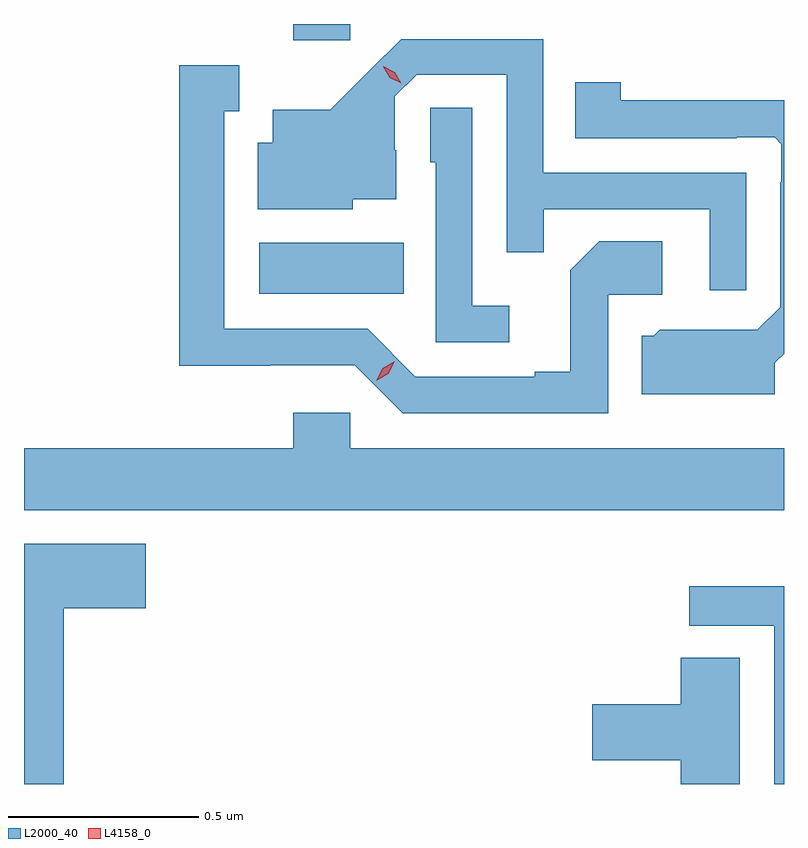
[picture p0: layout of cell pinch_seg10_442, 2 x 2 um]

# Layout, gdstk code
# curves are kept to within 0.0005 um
import gdstk
lib = gdstk.Library(unit=1e-6, precision=1e-09)
def R(c, l, rs):  # rectangles x0, y0, x1, y1
    for r in rs: c.add(gdstk.rectangle(r[:2], r[2:], *l))
def P(c, l, *ps):  # polygons
    for p in ps: c.add(gdstk.Polygon(p, *l))
L2000_40 = (2000, 40)
L4158_0 = (4158, 0)

pinch_seg10_442 = lib.new_cell('pinch_seg10_442')
R(pinch_seg10_442, L2000_40, [(394.008,1296.89,394.388,1297.024), (394.097,1297.557,394.248,1297.6)])
P(pinch_seg10_442, L2000_40, [(395.289,1297.209),(394.755,1297.209),(394.755,1297.56),(394.382,1297.56),(394.195,1297.375),(394.043,1297.375),(394.043,1297.288),(394.004,1297.288),(394.004,1297.112),(394.254,1297.112),(394.254,1297.139),(394.369,1297.139),(394.369,1297.268),(394.365,1297.268),(394.365,1297.41),(394.422,1297.467),(394.659,1297.467),(394.659,1297),(394.757,1297),(394.757,1297.113),(395.193,1297.113),(395.193,1296.9),(395.289,1296.9)],
  [(394.926,1296.888),(395.068,1296.888),(395.068,1297.028),(394.903,1297.028),(394.827,1296.952),(394.827,1296.685),(394.733,1296.685),(394.733,1296.672),(394.419,1296.672),(394.293,1296.798),(393.916,1296.798),(393.916,1297.371),(393.955,1297.371),(393.955,1297.492),(393.798,1297.492),(393.798,1296.701),(394.038,1296.701),(394.038,1296.702),(394.26,1296.702),(394.386,1296.576),(394.926,1296.576)],
  [(395.365,1296.708),(395.389,1296.732),(395.389,1297.399),(395.315,1297.399),(395.315,1297.4),(394.959,1297.4),(394.959,1297.447),(394.84,1297.447),(394.84,1297.299),(395.264,1297.299),(395.264,1297.302),(395.364,1297.302),(395.382,1297.284),(395.382,1297.184),(395.379,1297.184),(395.379,1296.855),(395.319,1296.795),(395.196,1296.795),(395.196,1296.796),(395.062,1296.796),(395.046,1296.78),(395.015,1296.78),(395.015,1296.626),(395.365,1296.626)],
  [(394.666,1296.859),(394.569,1296.859),(394.569,1297.379),(394.458,1297.379),(394.458,1297.236),(394.473,1297.236),(394.473,1296.762),(394.666,1296.762)],
  [(395.389,1296.484),(394.248,1296.484),(394.248,1296.577),(394.097,1296.577),(394.097,1296.484),(393.389,1296.484),(393.389,1296.32),(395.389,1296.32)],
  [(393.494,1296.062),(393.709,1296.062),(393.709,1296.232),(393.389,1296.232),(393.389,1295.6),(393.494,1295.6)],
  [(395.389,1296.121),(395.139,1296.121),(395.139,1296.017),(395.363,1296.017),(395.363,1295.6),(395.389,1295.6)],
  [(395.272,1295.932),(395.117,1295.932),(395.117,1295.81),(394.884,1295.81),(394.884,1295.663),(395.117,1295.663),(395.117,1295.6),(395.272,1295.6)])
P(pinch_seg10_442, L4158_0, [(394.382,1297.444),(394.351,1297.459),(394.334,1297.488),(394.334,1297.489),(394.334,1297.489),(394.365,1297.473),(394.382,1297.444),(394.382,1297.444)],
  [(394.316,1296.661),(394.316,1296.661),(394.333,1296.694),(394.364,1296.713),(394.364,1296.713),(394.364,1296.713),(394.347,1296.68),(394.316,1296.661)])

lib.write_gds('pinch_seg10_442.gds')
